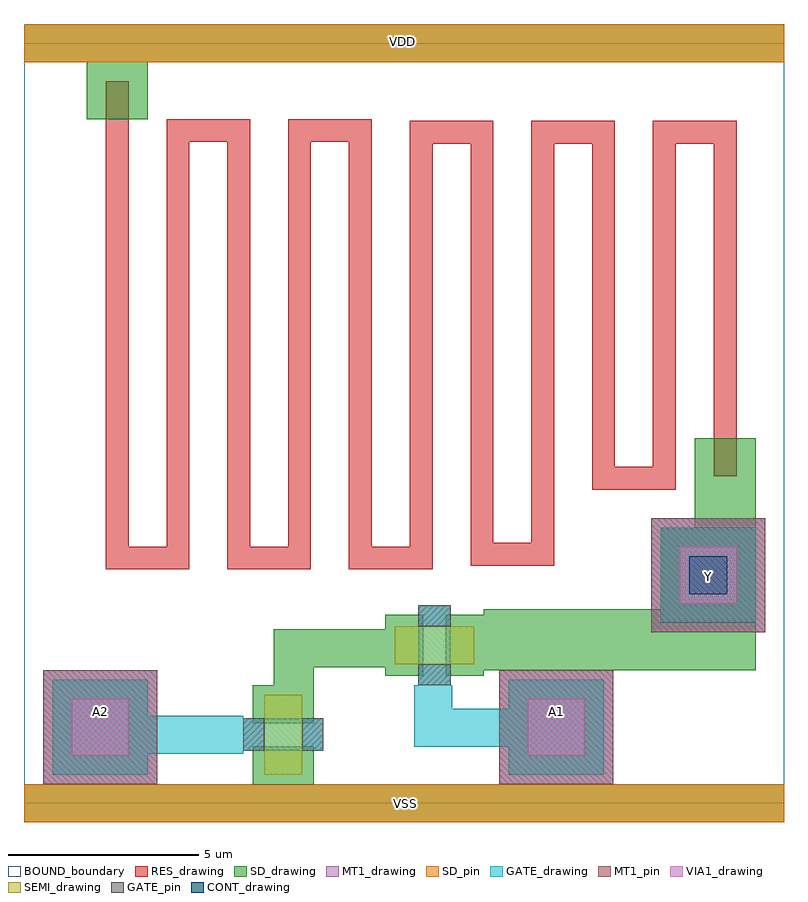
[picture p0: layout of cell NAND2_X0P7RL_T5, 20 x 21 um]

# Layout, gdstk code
from math import pi, radians
import gdstk
lib = gdstk.Library(unit=1e-6, precision=1e-09)
def R(c, l, rs):  # rectangles x0, y0, x1, y1
    for r in rs: c.add(gdstk.rectangle(r[:2], r[2:], *l))
def P(c, l, *ps):  # polygons
    for p in ps: c.add(gdstk.Polygon(p, *l))
RES_drawing = (1, 0)
SEMI_drawing = (3, 0)
SD_drawing = (10, 0)
SD_pin = (10, 3)
GATE_drawing = (11, 0)
GATE_pin = (11, 3)
MT1_drawing = (20, 0)
MT1_pin = (20, 3)
CONT_drawing = (30, 0)
VIA1_drawing = (41, 0)
BOUND_boundary = (150, 5)

nch_cdns_772544996570 = lib.new_cell('nch_CDNS_772544996570')
R(nch_cdns_772544996570, SEMI_drawing, [(-1.05,-0.5,1.05,0.5)])
R(nch_cdns_772544996570, SD_drawing, [(-1.3,-0.8,-0.3,0.8), (0.3,-0.8,1.3,0.8)])
R(nch_cdns_772544996570, GATE_drawing, [(-0.425,-1.05,0.425,1.05)])
R(nch_cdns_772544996570, GATE_pin, [(-0.425,-1.05,0.425,-0.5), (-0.425,0.5,0.425,1.05)])

sd_gate_cdns_77254499657 = lib.new_cell('SD_GATE_CDNS_772544996570')
R(sd_gate_cdns_77254499657, SD_drawing, [(-1,-1,1,1)])
R(sd_gate_cdns_77254499657, GATE_drawing, [(-1,-1,1,1)])
R(sd_gate_cdns_77254499657, CONT_drawing, [(-0.5,-0.5,0.5,0.5)])

gate_mt1_cdns_7725449965 = lib.new_cell('GATE_MT1_CDNS_772544996571')
R(gate_mt1_cdns_7725449965, GATE_drawing, [(-1.25,-1.25,1.25,1.25)])
R(gate_mt1_cdns_7725449965, MT1_drawing, [(-1.25,-1.25,1.25,1.25)])
R(gate_mt1_cdns_7725449965, VIA1_drawing, [(-0.75,-0.75,0.75,0.75)])

nand2_x0p7rl_t5 = lib.new_cell('NAND2_X0P7RL_T5')
R(nand2_x0p7rl_t5, SD_drawing, [(12.1,3.5,19.25,5.1), (16.75,4.75,19.25,7.25), (17.65,7.25,19.25,9.6), (1.65,18,3.25,19.5)])
P(nand2_x0p7rl_t5, SD_drawing, [(9.5,4.575),(6.575,4.575),(6.575,3.1),(7.625,3.1),(7.625,3.575),(9.5,3.575)])
R(nand2_x0p7rl_t5, SD_pin, [(0,-0.5,20,0.5), (0,19.5,20,20.5)])
P(nand2_x0p7rl_t5, GATE_drawing, [(5.675,2.3),(5.675,1.3),(5.775,1.3),(5.775,1.425),(5.825,1.425),(5.825,2.175),(5.775,2.175),(5.775,2.3)],
  [(10.275,3),(11.275,3),(11.275,3.1),(11.175,3.1),(11.175,3.15),(10.425,3.15),(10.425,3.1),(10.275,3.1)])
R(nand2_x0p7rl_t5, MT1_drawing, [(0.5,0.5,3.5,3.5), (12.5,0.5,15.5,3.5), (16.5,4.5,19.5,7.5)])
R(nand2_x0p7rl_t5, MT1_pin, [(0.5,0.5,3.5,3.5), (12.5,0.5,15.5,3.5), (16.5,4.5,19.5,7.5)])
R(nand2_x0p7rl_t5, BOUND_boundary, [(0,0,20,20)])
nand2_x0p7rl_t5.add(gdstk.FlexPath([(2.45,19),(2.45,6.45),(4.05,6.45),(4.05,17.7),(5.65,17.7),(5.65,6.45),(7.25,6.45),(7.25,17.7),(8.85,17.7),(8.85,6.45),(10.45,6.45),(10.45,17.65),(12.05,17.65),(12.05,6.55),(13.65,6.55),(13.65,17.65),(15.25,17.65),(15.25,8.55),(16.85,8.55),(16.85,17.65),(18.45,17.65),(18.45,8.6)], 0.6, ends="flush", simple_path=True, layer=1, datatype=0))  # RES_drawing
nand2_x0p7rl_t5.add(gdstk.FlexPath([(0,0),(20,0)], 1, ends="flush", simple_path=True, layer=10, datatype=0))  # SD_drawing
nand2_x0p7rl_t5.add(gdstk.FlexPath([(0,20),(20,20)], 1, ends="flush", simple_path=True, layer=10, datatype=0))  # SD_drawing
nand2_x0p7rl_t5.add(gdstk.FlexPath([(14.2,2),(14,2)], 1, ends=(0.5, 0), simple_path=True, layer=11, datatype=0))  # GATE_drawing
nand2_x0p7rl_t5.add(gdstk.FlexPath([(5.675,1.8),(2.05,1.8)], 1, ends="flush", simple_path=True, layer=11, datatype=0))  # GATE_drawing
nand2_x0p7rl_t5.add(gdstk.FlexPath([(10.775,3),(10.775,1.975)], 1, ends=(0, 0.5), simple_path=True, layer=11, datatype=0))  # GATE_drawing
nand2_x0p7rl_t5.add(gdstk.FlexPath([(10.775,1.975),(12.75,1.975)], 1, ends=(0.5, 0), simple_path=True, layer=11, datatype=0))  # GATE_drawing
nand2_x0p7rl_t5.add(gdstk.Reference(nch_cdns_772544996570, (6.825,1.8), rotation=pi/2))
nand2_x0p7rl_t5.add(gdstk.Reference(nch_cdns_772544996570, (10.8,4.15)))
nand2_x0p7rl_t5.add(gdstk.Reference(sd_gate_cdns_77254499657, (18,6)))
nand2_x0p7rl_t5.add(gdstk.Reference(gate_mt1_cdns_7725449965, (2,2)))
nand2_x0p7rl_t5.add(gdstk.Reference(gate_mt1_cdns_7725449965, (14,2)))
nand2_x0p7rl_t5.add(gdstk.Reference(gate_mt1_cdns_7725449965, (18,6)))
nand2_x0p7rl_t5.add(gdstk.Label('VDD', (9.95,20.05), layer=10, texttype=3))
nand2_x0p7rl_t5.add(gdstk.Label('VSS', (10.05,0), layer=10, texttype=3))
nand2_x0p7rl_t5.add(gdstk.Label('Y', (18,5.95), layer=20, texttype=3))
nand2_x0p7rl_t5.add(gdstk.Label('A2', (2,2.4), layer=20, texttype=3))
nand2_x0p7rl_t5.add(gdstk.Label('A1', (14,2.4), layer=20, texttype=3))

lib.write_gds('NAND2_X0P7RL_T5.gds')
